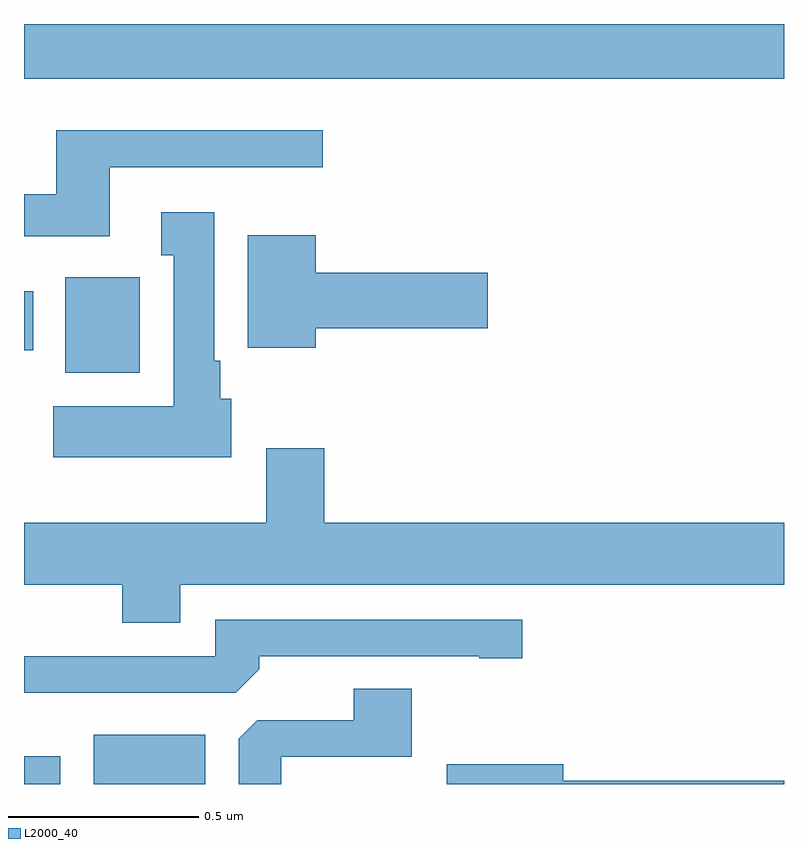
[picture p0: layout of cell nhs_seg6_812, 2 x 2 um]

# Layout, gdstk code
import gdstk
lib = gdstk.Library(unit=1e-6, precision=1e-09)
def R(c, l, rs):  # rectangles x0, y0, x1, y1
    for r in rs: c.add(gdstk.rectangle(r[:2], r[2:], *l))
def P(c, l, *ps):  # polygons
    for p in ps: c.add(gdstk.Polygon(p, *l))
L2000_40 = (2000, 40)

nhs_seg6_812 = lib.new_cell('nhs_seg6_812')
R(nhs_seg6_812, L2000_40, [(121,925.5,121.096,925.573), (121.184,925.5,121.477,925.63), (121.109,926.582,121.305,926.833), (121,926.641,121.024,926.797), (121,927.356,123,927.5)])
P(nhs_seg6_812, L2000_40, [(121.225,927.123),(121.786,927.123),(121.786,927.22),(121.085,927.22),(121.085,927.052),(121,927.052),(121,926.942),(121.225,926.942)],
  [(121.546,926.514),(121.516,926.514),(121.516,926.614),(121.501,926.614),(121.501,927.004),(121.361,927.004),(121.361,926.891),(121.394,926.891),(121.394,926.494),(121.077,926.494),(121.077,926.36),(121.546,926.36)],
  [(121.768,926.699),(122.221,926.699),(122.221,926.846),(121.768,926.846),(121.768,926.944),(121.589,926.944),(121.589,926.648),(121.768,926.648)],
  [(121.411,926.024),(123,926.024),(123,926.188),(121.79,926.188),(121.79,926.383),(121.637,926.383),(121.637,926.188),(121,926.188),(121,926.024),(121.259,926.024),(121.259,925.925),(121.411,925.925)],
  [(121.619,925.802),(121.619,925.836),(122.198,925.836),(122.198,925.831),(122.311,925.831),(122.311,925.932),(121.503,925.932),(121.503,925.836),(121,925.836),(121,925.74),(121.557,925.74)],
  [(121.677,925.572),(122.021,925.572),(122.021,925.751),(121.868,925.751),(121.868,925.668),(121.614,925.668),(121.565,925.619),(121.565,925.5),(121.677,925.5)],
  [(123,925.508),(122.419,925.508),(122.419,925.552),(122.112,925.552),(122.112,925.5),(123,925.5)])

lib.write_gds('nhs_seg6_812.gds')
